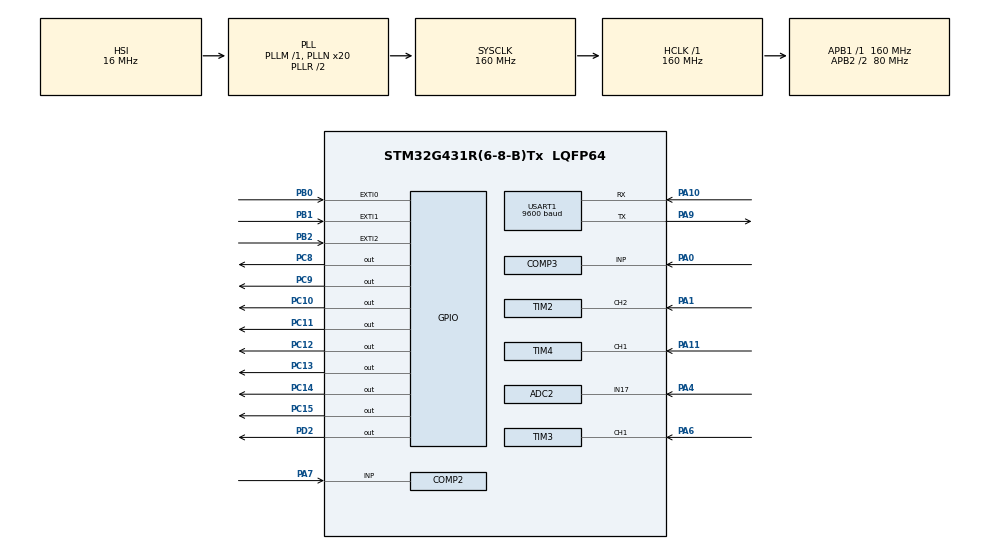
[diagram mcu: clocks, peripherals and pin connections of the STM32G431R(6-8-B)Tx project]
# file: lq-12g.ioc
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ADC2.Channel-1\#ChannelRegularConversion=ADC_CHANNEL_17
ADC2.ClockPrescaler=ADC_CLOCK_ASYNC_DIV8
ADC2.ContinuousConvMode=DISABLE
ADC2.DMAContinuousRequests=DISABLE
ADC2.EnableRegularConversion=ENABLE
ADC2.ExternalTrigConv=ADC_SOFTWARE_START
ADC2.NbrOfConversionFlag=1
ADC2.OffsetNumber-1\#ChannelRegularConversion=ADC_OFFSET_NONE
ADC2.Rank-1\#ChannelRegularConversion=1
ADC2.SamplingTime-1\#ChannelRegularConversion=ADC_SAMPLETIME_2CYCLES_5
COMP2.TriggerMode=COMP_TRIGGERMODE_EVENT_RISING_FALLING
COMP3.TriggerMode=COMP_TRIGGERMODE_IT_FALLING
Dma.Request0=USART1_RX
Dma.USART1_RX.0.Direction=DMA_PERIPH_TO_MEMORY
Dma.USART1_RX.0.EventEnable=DISABLE
Dma.USART1_RX.0.Instance=DMA2_Channel1
Dma.USART1_RX.0.MemDataAlignment=DMA_MDATAALIGN_BYTE
Dma.USART1_RX.0.MemInc=DMA_MINC_ENABLE
Dma.USART1_RX.0.Mode=DMA_NORMAL
Dma.USART1_RX.0.PeriphDataAlignment=DMA_PDATAALIGN_BYTE
Dma.USART1_RX.0.PeriphInc=DMA_PINC_DISABLE
Dma.USART1_RX.0.Polarity=HAL_DMAMUX_REQ_GEN_RISING
Dma.USART1_RX.0.Priority=DMA_PRIORITY_LOW
Dma.USART1_RX.0.RequestNumber=1
Dma.USART1_RX.0.SignalID=NONE
Dma.USART1_RX.0.SyncEnable=DISABLE
Dma.USART1_RX.0.SyncPolarity=HAL_DMAMUX_SYNC_NO_EVENT
Dma.USART1_RX.0.SyncRequestNumber=1
Dma.USART1_RX.0.SyncSignalID=NONE
Mcu.Family=STM32G4
Mcu.Name=STM32G431R(6-8-B)Tx
Mcu.Package=LQFP64
NVIC.ADC1_2_IRQn=true\:0\:0\:false\:false\:true\:true\:true\:true
NVIC.COMP1_2_3_IRQn=true\:1\:0\:true\:false\:true\:false\:true\:true
NVIC.DMA2_Channel1_IRQn=true\:3\:0\:true\:false\:true\:true\:true\:true
NVIC.EXTI0_IRQn=true\:1\:0\:true\:false\:true\:true\:true\:true
NVIC.EXTI1_IRQn=true\:1\:0\:true\:false\:true\:true\:true\:true
NVIC.EXTI2_IRQn=true\:1\:0\:true\:false\:true\:true\:true\:true
NVIC.PriorityGroup=NVIC_PRIORITYGROUP_4
NVIC.TIM1_BRK_TIM15_IRQn=true\:0\:0\:false\:false\:true\:true\:true\:true
NVIC.TIM2_IRQn=true\:2\:0\:true\:false\:true\:true\:true\:true
NVIC.TIM3_IRQn=true\:2\:0\:true\:false\:true\:true\:true\:true
NVIC.TIM4_IRQn=true\:2\:0\:true\:false\:true\:true\:true\:true
NVIC.USART1_IRQn=true\:3\:0\:true\:false\:true\:true\:true\:true
PA0.Mode=INP
PA0.Signal=COMP3_INP
PA1.Signal=S_TIM2_CH2
PA10.Mode=Asynchronous
PA10.Signal=USART1_RX
PA11.Signal=S_TIM4_CH1
PA13.Mode=Serial_Wire
PA13.Signal=SYS_JTMS-SWDIO
PA14.Mode=Serial_Wire
PA14.Signal=SYS_JTCK-SWCLK
PA4.Mode=IN17-Single-Ended
PA4.Signal=ADC2_IN17
PA6.Signal=S_TIM3_CH1
PA7.Mode=INP
PA7.Signal=COMP2_INP
PA9.Mode=Asynchronous
PA9.Signal=USART1_TX
PB0.Signal=GPXTI0
PB1.Signal=GPXTI1
PB2.Signal=GPXTI2
PC10.GPIO_PuPd=GPIO_PULLUP
PC10.PinState=GPIO_PIN_SET
PC10.Signal=GPIO_Output
PC11.GPIO_PuPd=GPIO_PULLUP
PC11.PinState=GPIO_PIN_SET
PC11.Signal=GPIO_Output
PC12.GPIO_PuPd=GPIO_PULLUP
PC12.PinState=GPIO_PIN_SET
PC12.Signal=GPIO_Output
PC13.GPIO_PuPd=GPIO_PULLUP
PC13.PinState=GPIO_PIN_SET
PC13.Signal=GPIO_Output
PC14-OSC32_IN.GPIO_PuPd=GPIO_PULLUP
PC14-OSC32_IN.PinState=GPIO_PIN_SET
PC14-OSC32_IN.Signal=GPIO_Output
PC15-OSC32_OUT.GPIO_PuPd=GPIO_PULLUP
PC15-OSC32_OUT.PinState=GPIO_PIN_SET
PC15-OSC32_OUT.Signal=GPIO_Output
PC8.Signal=GPIO_Output
PC9.GPIO_PuPd=GPIO_PULLUP
PC9.PinState=GPIO_PIN_SET
PC9.Signal=GPIO_Output
PD2.GPIO_PuPd=GPIO_PULLDOWN
PD2.Signal=GPIO_Output
PF0-OSC_IN.Mode=HSE-External-Oscillator
PF0-OSC_IN.Signal=RCC_OSC_IN
PF1-OSC_OUT.Mode=HSE-External-Oscillator
PF1-OSC_OUT.Signal=RCC_OSC_OUT
ProjectManager.HeapSize=0x200
ProjectManager.StackSize=0x400
ProjectManager.TargetToolchain=MDK-ARM V5
RCC.ADC12Freq_Value=160000000
RCC.AHBFreq_Value=160000000
RCC.APB1Freq_Value=160000000
RCC.APB1TimFreq_Value=160000000
RCC.APB2CLKDivider=RCC_HCLK_DIV2
RCC.APB2Freq_Value=80000000
RCC.APB2TimFreq_Value=160000000
RCC.CortexFreq_Value=160000000
RCC.EXTERNAL_CLOCK_VALUE=12288000
RCC.HCLKFreq_Value=160000000
RCC.HSI48_VALUE=48000000
RCC.HSI_VALUE=16000000
RCC.LSE_VALUE=32768
RCC.PLLN=20
RCC.SYSCLKFreq_VALUE=160000000
RCC.SYSCLKSource=RCC_SYSCLKSOURCE_PLLCLK
RCC.USBFreq_Value=160000000
RCC.VCOOutputFreq_Value=320000000
SH.S_TIM2_CH2.0=TIM2_CH2,Input_Capture2_from_TI2
SH.S_TIM2_CH2.1=TIM2_CH2,TriggerSource_TI2FP2
SH.S_TIM3_CH1.0=TIM3_CH1,Input_Capture1_from_TI1
SH.S_TIM3_CH1.1=TIM3_CH1,TriggerSource_TI1FP1
SH.S_TIM4_CH1.0=TIM4_CH1,TriggerSource_TI1FP1
TIM15.AutoReloadPreload=TIM_AUTORELOAD_PRELOAD_ENABLE
TIM15.PeriodNoDither=999
TIM15.Prescaler=159
TIM15.TIM_MasterOutputTrigger=TIM_TRGO_RESET
TIM15.TIM_MasterSlaveMode=TIM_MASTERSLAVEMODE_DISABLE
TIM2.Channel-Input_Capture2_from_TI2=TIM_CHANNEL_2
TIM2.PeriodNoDither=999999
TIM2.Prescaler=159
TIM3.Channel-Input_Capture1_from_TI1=TIM_CHANNEL_1
TIM3.Channel-Input_Capture2_from_TI1_63=TIM_CHANNEL_2
TIM3.ICPolarity_CH2=TIM_INPUTCHANNELPOLARITY_FALLING
TIM3.Prescaler=159
TIM4.Channel-Input_Capture1_from_TI1_REMAP_TIM4=TIM_CHANNEL_1
TIM4.Channel-Input_Capture2_from_TI1_63=TIM_CHANNEL_2
TIM4.ICPolarity_CH2=TIM_INPUTCHANNELPOLARITY_FALLING
TIM4.Prescaler=159
TIM4.TIM4_TI1_REMAP-Input_Capture1_from_TI1_REMAP_TIM4=TIM_TIM4_TI1_COMP2
USART1.BaudRate=9600
USART1.VirtualMode-Asynchronous=VM_ASYNC
VP_COMP2_VS_VREFINT14.Mode=VREFINT_14
VP_COMP3_VS_VREFINT.Mode=VREFINT
VP_SYS_VS_DBSignals.Mode=DisableDeadBatterySignals
VP_TIM15_VS_ClockSourceINT.Mode=Internal
VP_TIM2_VS_ClockSourceINT.Mode=Internal
VP_TIM2_VS_ControllerModeReset.Mode=Reset Mode
VP_TIM3_VS_ClockSourceINT.Mode=Internal
VP_TIM3_VS_ControllerModeReset.Mode=Reset Mode
VP_TIM3_VS_indirect_ch1.Mode=Input_Capture2_from_TI1_63
VP_TIM4_VS_ClockSourceINT.Mode=Internal
VP_TIM4_VS_ControllerModeReset.Mode=Reset Mode
VP_TIM4_VS_NoInput1.Mode=Input_Capture1_from_TI1_REMAP_TIM4
VP_TIM4_VS_indirect_ch1.Mode=Input_Capture2_from_TI1_63
board=custom

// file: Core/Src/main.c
/* USER CODE BEGIN Header */
/**
  ******************************************************************************
  * @file           : main.c
  * @brief          : Main program body
  ******************************************************************************
  * @attention
  *
  * Copyright (c) 2023 STMicroelectronics.
  * All rights reserved.
  *
  * This software is licensed under terms that can be found in the LICENSE file
  * in the root directory of this software component.
  * If no LICENSE file comes with this software, it is provided AS-IS.
  *
  ******************************************************************************
  */
/* USER CODE END Header */
#include "main.h"
#include "adc.h"
#include "comp.h"
#include "dma.h"
#include "tim.h"
#include "usart.h"
#include "gpio.h"

/* USER CODE BEGIN Includes */

#include <stdio.h>
#include <stdbool.h>
#include <string.h>
#include <stdlib.h>
#include <stdarg.h>
#include "lcd.h"

/* USER CODE END Includes */

/* USER CODE BEGIN PD */

#define TRAO_LIM 3500

/* USER CODE END PD */

/* USER CODE BEGIN PM */

#define lds(x, s) \
	HAL_GPIO_WritePin(GPIOC, 0x0080<<(x), s);\
	HAL_GPIO_WritePin(GPIOD, GPIO_PIN_2, GPIO_PIN_SET);\
	HAL_GPIO_WritePin(GPIOD, GPIO_PIN_2, GPIO_PIN_RESET)

/* USER CODE END PM */

/* USER CODE BEGIN PV */

uint8_t 	fmtBuf[32]	= {0};
bool 		paraPage	= false;
float		a			= 0;
float  		b 			= 0;
float		da			= 0;
float  		db 			= 0;
int 		ax			= 0;
int 		bx			= 0;
int 		pax			= 20;
int 		pbx			= 20;
int 		pf			= 1000;
int 		f			= 0;
int 		ah			= 0;
int 		bh			= 0;
bool		modeB		= false;
bool		rf			= false;
bool		ra			= false;
bool		rb			= false;
uint32_t	adcIn		= {0};
char 		rxBuf[32]	= {0};
bool		rxRdy		= false;
float 		recA[5]		= {0};
int			irA			= 0;
float 		recB[5]		= {0};
int 		irB			= 0;

/* USER CODE END PV */

void SystemClock_Config(void);
/* USER CODE BEGIN PFP */

void render(void);
void updA(void);
void updB(void);
void updF(void);
void updAx(void);
void updBx(void);
void updMode(void);
void incPax(bool);
void incPbx(bool);
void incPf(bool);

float angleA(int, int);
float angleB(int, int);

void refreshAngle(void);

void HAL_GPIO_EXTI_Callback(uint16_t);
void HAL_COMP_TriggerCallback(COMP_HandleTypeDef *);
void HAL_UARTEx_RxEventCallback(UART_HandleTypeDef *, uint16_t);
void HAL_ADC_ConvCpltCallback(ADC_HandleTypeDef *);

int cmp(const void *, const void *);

uint8_t *format(char *, ...);
int fputc(int, FILE *);

/* USER CODE END PFP */

int main(void)
{

  /* MCU Configuration--------------------------------------------------------*/

  /* Reset of all peripherals, Initializes the Flash interface and the Systick. */
  HAL_Init();

  /* Configure the system clock */
  SystemClock_Config();

  /* Initialize all configured peripherals */
  MX_GPIO_Init();
  MX_DMA_Init();
  MX_ADC2_Init();
  MX_USART1_UART_Init();
  MX_COMP3_Init();
  MX_TIM2_Init();
  MX_COMP2_Init();
  MX_TIM3_Init();
  MX_TIM4_Init();
  MX_TIM15_Init();
  /* USER CODE BEGIN 2 */

	HAL_ADCEx_Calibration_Start(&hadc2, ADC_SINGLE_ENDED);
	//HAL_ADC_Start_IT(&hadc2); //trao

	HAL_COMP_Start(&hcomp2);
	HAL_COMP_Start(&hcomp3);

	HAL_TIM_IC_Start_IT(&htim2, TIM_CHANNEL_2); //freq in
	HAL_TIM_Base_Start_IT(&htim15); //ADC trigger
	HAL_TIM_Base_Start(&htim3);
	HAL_TIM_Base_Start(&htim4);

	LCD_Init();
	LCD_SetBackColor(Black);
	LCD_SetTextColor(White);
	LCD_Clear(Black);
	render();

	HAL_TIM_IC_Start_IT(&htim3, TIM_CHANNEL_1); //pwm a
	HAL_TIM_IC_Start_IT(&htim3, TIM_CHANNEL_2);
	HAL_TIM_IC_Start_IT(&htim4, TIM_CHANNEL_1); //pwm b
	HAL_TIM_IC_Start_IT(&htim4, TIM_CHANNEL_2);

	HAL_UARTEx_ReceiveToIdle_DMA(&huart1, (uint8_t *)rxBuf, 31);
	printf("Init complete\n");

  /* USER CODE END 2 */

  /* Infinite loop */
  /* USER CODE BEGIN WHILE */
  while (1)
  {
	  //LCD_DisplayStringLine(Line0, format("%d              ", adcIn)); //debug

	  lds(1, ax < pax);
	  lds(2, bx < pbx);
	  lds(3, f  < pf );
	  lds(4, modeB   ); //move?
	  lds(5, a-b < 80);

	  if(!paraPage && rf) {
		  updF();
		  rf = false;
	  }
	  if(!paraPage && ra) {
		  updA();
		  updAx();
		  recA[irA++] = a;
		  if(irA == 5) irA = 0;
		  ra = false;
	  }
	  if(!paraPage && rb) {
		  updB();
		  updBx();
		  recB[irB++] = b;
		  if(irB == 5) irB = 0;
		  rb = false;
	  }

    /* USER CODE END WHILE */

  }
}

void SystemClock_Config(void)
{
  RCC_OscInitTypeDef RCC_OscInitStruct = {0};
  RCC_ClkInitTypeDef RCC_ClkInitStruct = {0};

  /** Configure the main internal regulator output voltage
  */
  HAL_PWREx_ControlVoltageScaling(PWR_REGULATOR_VOLTAGE_SCALE1_BOOST);

  /** Initializes the RCC Oscillators according to the specified parameters
  * in the RCC_OscInitTypeDef structure.
  */
  RCC_OscInitStruct.OscillatorType = RCC_OSCILLATORTYPE_HSI;
  RCC_OscInitStruct.HSIState = RCC_HSI_ON;
  RCC_OscInitStruct.HSICalibrationValue = RCC_HSICALIBRATION_DEFAULT;
  RCC_OscInitStruct.PLL.PLLState = RCC_PLL_ON;
  RCC_OscInitStruct.PLL.PLLSource = RCC_PLLSOURCE_HSI;
  RCC_OscInitStruct.PLL.PLLM = RCC_PLLM_DIV1;
  RCC_OscInitStruct.PLL.PLLN = 20;
  RCC_OscInitStruct.PLL.PLLP = RCC_PLLP_DIV2;
  RCC_OscInitStruct.PLL.PLLQ = RCC_PLLQ_DIV2;
  RCC_OscInitStruct.PLL.PLLR = RCC_PLLR_DIV2;
  if (HAL_RCC_OscConfig(&RCC_OscInitStruct) != HAL_OK)
  {
    Error_Handler();
  }

  /** Initializes the CPU, AHB and APB buses clocks
  */
  RCC_ClkInitStruct.ClockType = RCC_CLOCKTYPE_HCLK|RCC_CLOCKTYPE_SYSCLK
                              |RCC_CLOCKTYPE_PCLK1|RCC_CLOCKTYPE_PCLK2;
  RCC_ClkInitStruct.SYSCLKSource = RCC_SYSCLKSOURCE_PLLCLK;
  RCC_ClkInitStruct.AHBCLKDivider = RCC_SYSCLK_DIV1;
  RCC_ClkInitStruct.APB1CLKDivider = RCC_HCLK_DIV1;
  RCC_ClkInitStruct.APB2CLKDivider = RCC_HCLK_DIV2;

  if (HAL_RCC_ClockConfig(&RCC_ClkInitStruct, FLASH_LATENCY_4) != HAL_OK)
  {
    Error_Handler();
  }
}

/* USER CODE BEGIN 4 */

void HAL_UARTEx_RxEventCallback(UART_HandleTypeDef *huart, uint16_t size) {
	if(huart->Instance == USART1) {
		//Cmd handler:
		//LCD_DisplayStringLine(Line0, (uint8_t *)rxBuf);
		if(rxBuf[1] == '?') {
			if(rxBuf[0] == 'a') { //a?
				printf("a:%.1f\n", a);
				goto end;
			}
			if(rxBuf[0] == 'b') { //b?
				printf("b:%.1f\n", b);
				goto end;
			}
		}
		else if(rxBuf[2] == '?') {
			rxBuf[2] = 0;
			if(!strcmp(rxBuf, "aa")) {
				printf("aa:%.1f", recA[irA]);
				for(int i = irA; --i != irA; ) {
					if(i == -1) i = 4;
					printf("-%.1f", recA[i]);
				}
				printf("\n");
				goto end;
			}
			if(!strcmp(rxBuf, "bb")) {
				printf("bb:%.1f", recB[irB]);
				for(int i = irB; --i != irB; ) {
					if(i == -1) i = 4;
					printf("-%.1f", recB[i]);
				}
				printf("\n");
				goto end;
			}
			if(!strcmp(rxBuf, "qa")) {
				float *q = (float *)malloc(sizeof(float)*5);
				memcpy(q, recA, sizeof(float)*5);
				//for(int i = 4; i--; ) *(q + i) = recA[i]; //array copy
				qsort(q, 5, sizeof(float), cmp); //sort
				printf("qa:%.1f", *(q + 4));
				for(int i = 4; i--; ) {
					printf("-%.1f", *(q + i));
				}
				free(q);
				printf("\n");
				goto end;
			}
			if(!strcmp(rxBuf, "qb")) {
				float *q = (float *)malloc(sizeof(float)*5);
				memcpy(q, recB, sizeof(float)*5);
				//for(int i = 4; i--; ) *(q + i) = recB[i]; //array copy
				qsort(q, 5, sizeof(float), cmp); //sort
				printf("qb:%.1f", *(q + 4));
				for(int i = 4; i--; ) {
					printf("-%.1f", *(q + i));
				}
				free(q);
				printf("\n");
				goto end;
			}
		}
		//Illegal format
		printf("error\n");

		//handler end
		end:
		HAL_UARTEx_ReceiveToIdle_DMA(&huart1, (uint8_t *)rxBuf, 31);
	}
}

void HAL_ADC_ConvCpltCallback(ADC_HandleTypeDef *hadc) {
	if(hadc->Instance == ADC2) {
		register int adcVal = HAL_ADC_GetValue(&hadc2);
		if(modeB && adcVal > TRAO_LIM && adcIn < TRAO_LIM) refreshAngle();
		adcIn = adcVal;
		//HAL_ADC_Start_IT(&hadc2);
	}
}
void HAL_TIM_PeriodElapsedCallback(TIM_HandleTypeDef *htim) {
	if(htim->Instance == TIM15) HAL_ADC_Start_IT(&hadc2);
}
void HAL_TIM_IC_CaptureCallback(TIM_HandleTypeDef *htim) {
//	bool b1 = htim->Instance == TIM3, b2 = htim->Channel == HAL_TIM_ACTIVE_CHANNEL_1;
//	UNUSED(b1);
//	UNUSED(b2);
	if(htim->Instance == TIM2) { //freq
		f = 1000000/ HAL_TIM_ReadCapturedValue(&htim2, TIM_CHANNEL_2);
		rf = true;
		return;
	}
	if(htim->Instance == TIM3 && htim->Channel == HAL_TIM_ACTIVE_CHANNEL_1) { //pwm A
		if(HAL_TIM_ReadCapturedValue(&htim3, TIM_CHANNEL_1) == 0) return;
		da = angleA(HAL_TIM_ReadCapturedValue(&htim3, TIM_CHANNEL_2), HAL_TIM_ReadCapturedValue(&htim3, TIM_CHANNEL_1));
		//ax = a1 - a;
		//a = a1;
//		HAL_TIM_IC_Stop_IT(&htim3, TIM_CHANNEL_1);
//		HAL_TIM_IC_Stop_IT(&htim3, TIM_CHANNEL_2);
		//ra = true;
		return;
	}
	if(htim->Instance == TIM4 && htim->Channel == HAL_TIM_ACTIVE_CHANNEL_1) { //pwm B
		if(HAL_TIM_ReadCapturedValue(&htim4, TIM_CHANNEL_1) == 0) return;
		db = angleB(HAL_TIM_ReadCapturedValue(&htim4, TIM_CHANNEL_2), HAL_TIM_ReadCapturedValue(&htim4, TIM_CHANNEL_1));
		//bx = b1 - b;
		//b = b1;
//		HAL_TIM_IC_Stop_IT(&htim4, TIM_CHANNEL_1);
//		HAL_TIM_IC_Stop_IT(&htim4, TIM_CHANNEL_2);
		//rb = true;
		return;
	}
}

void HAL_GPIO_EXTI_Callback(uint16_t pin) {
	switch(pin) {
		case GPIO_PIN_0: //B1
			HAL_Delay(32);
			if(HAL_GPIO_ReadPin(GPIOB, GPIO_PIN_0) != SET) return;
			paraPage = !paraPage;
			render();
			break;
		case GPIO_PIN_1: //B2
			HAL_Delay(32);
			if(HAL_GPIO_ReadPin(GPIOB, GPIO_PIN_1) != SET) return;
			if(paraPage) {
				incPax(true);
				incPbx(true);
			}
			break;
		case GPIO_PIN_2: //B3
			HAL_Delay(32);
			if(HAL_GPIO_ReadPin(GPIOB, GPIO_PIN_2) != SET) return;
			if(paraPage) incPf(true);
			else {
				modeB = !modeB;
				updMode();
			}
			break;
	}
}

void HAL_COMP_TriggerCallback(COMP_HandleTypeDef *hcomp) {
	if(hcomp->Instance == COMP3) { //B4
		if(modeB) return;
		HAL_Delay(32);
		if(HAL_COMP_GetOutputLevel(&hcomp3) == COMP_OUTPUT_LEVEL_HIGH) return;
		refreshAngle();
	}
}

inline float angleA(int h, int t) { //opt possible
	register int d = h * 10000 / t - 1000; //x1000
	if(d > 8000) return 180;
	if(d < 0) return 0;
	return d * 9 / 400.0;

}
inline float angleB(int h, int t) { //opt possible
	register int d = h * 10000 / t - 1000; //x1000
	if(d > 8000) return 90;
	if(d < 0) return 0;
	return d * 9 / 800.0;
}

inline void refreshAngle() {
	ax= da - a;
	bx= db - b;
	a = da;
	b = db;
	ra = true;
	rb = true;
}

void render() {
	LCD_Clear(Black);
	if(paraPage) {
		LCD_DisplayStringLine(Line1, (uint8_t *)"        PARA");
		incPax(0);
		incPbx(0);
		incPf(0);
		return;
	}
	LCD_DisplayStringLine(Line1, (uint8_t *)"        DATA");
	updA();
	updB();
	updF();
	updAx();
	updBx();
	updMode();
}

inline void updA() {
	LCD_DisplayStringLine(Line2, format("   a:%.1f      ", a));
}
inline void updB() {
	LCD_DisplayStringLine(Line3, format("   b:%.1f      ", b));
}
inline void updF() {
	LCD_DisplayStringLine(Line4, format("   f:%dHz       ", f));
}
inline void updAx() {
	LCD_DisplayStringLine(Line6, format("   ax:%d       ", ax));
}
inline void updBx() {
	LCD_DisplayStringLine(Line7, format("   bx:%d     ", bx));
}
inline void updMode() {
	LCD_DisplayStringLine(Line8, format("   mode:%c", 'A' + modeB));
}
inline void incPax(bool inc) {
	if(inc) {
		pax += 10;
		if(pax == 70) pax = 10;
	}
	LCD_DisplayStringLine(Line2, format("   Pax:%d    ", pax));
}
inline void incPbx(bool inc) {
	if(inc) {
		pbx += 10;
		if(pbx == 70) pbx = 10;
	}
	LCD_DisplayStringLine(Line3, format("   Pbx:%d      ", pbx));
}
inline void incPf(bool inc) {
	if(inc) {
		pf += 1000;
		if(pax == 11000) pax = 1000;
	}
	LCD_DisplayStringLine(Line4, format("   Pf:%d      ", pf));
}

uint8_t *format(char *fmt, ...) {
	va_list ap;
	va_start(ap, fmt);
	memset(fmtBuf, 0, 32);
	vsprintf((char *)fmtBuf, fmt, ap);
	return fmtBuf;
}

int fputc(int ch, FILE *f) {
	HAL_UART_Transmit(&huart1, (uint8_t *)&ch, 1, 0xFFFF);
	return ch;
}

int cmp(const void *arg1, const void *arg2) {
	return ((int)(*(float *)arg2*10) - (int)(*(float *)arg1*10));
}
/* USER CODE END 4 */

void Error_Handler(void)
{
  __disable_irq();
  while (1)
  {
  }
}
